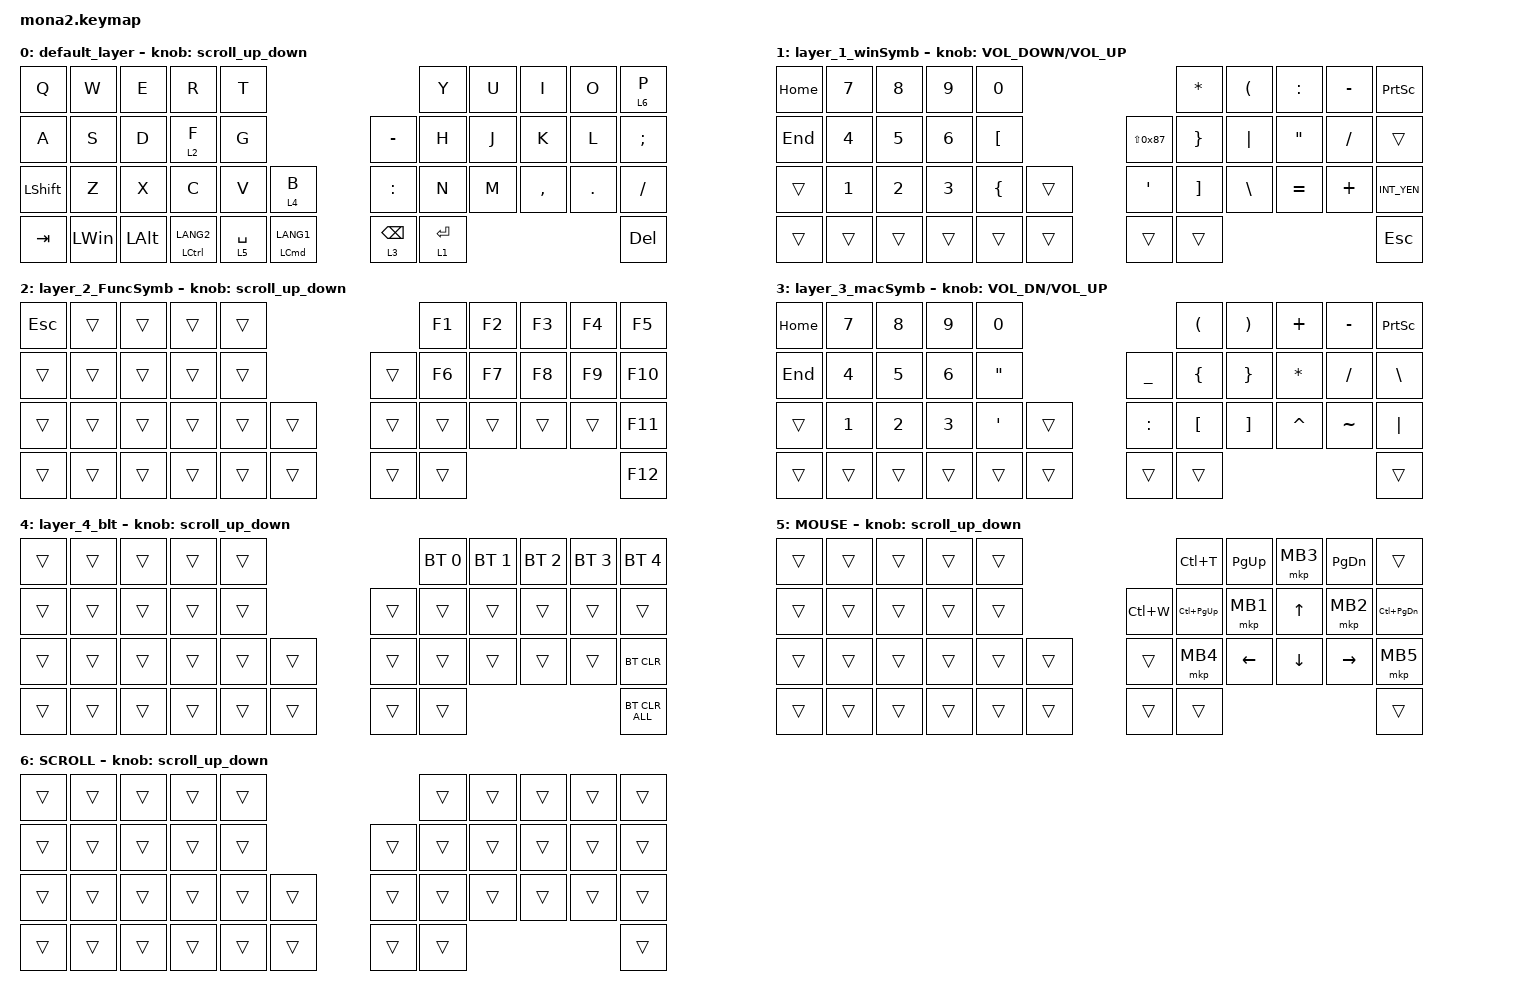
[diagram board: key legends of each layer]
#include <input/processors.dtsi>
#include <dt-bindings/zmk/input_transform.h>
#include <zephyr/dt-bindings/input/input-event-codes.h>
#include <behaviors.dtsi>
#include <dt-bindings/zmk/bt.h>
#include <dt-bindings/zmk/keys.h>
#include <dt-bindings/zmk/pointing.h>

#define ZMK_POINTING_DEFAULT_SCRL_VAL 100
#define MOUSE 5
#define SCROLL 6

&mt {
    flavor = "balanced";
    quick-tap-ms = <0>;
};

&lt {
    quick-tap-ms = <300>;
    flavor = "balanced";
};

/ {
    combos {
        compatible = "zmk,combos";

        layer4_ESC {
            bindings = <&lt 4 ESC>;
            key-positions = <39 38>;
        };

        tab {
            bindings = <&kp TAB>;
            key-positions = <11 12>;
        };
    };

    macros {
        to_layer_0: to_layer_0 {
            compatible = "zmk,behavior-macro-one-param";
            #binding-cells = <1>;
            bindings = <&to 0 &macro_param_1to1 &kp MACRO_PLACEHOLDER>;
            label = "TO_LAYER_0";
        };
    };

    behaviors {
        lt_to_layer_0: lt_to_layer_0 {
            compatible = "zmk,behavior-hold-tap";
            label = "LAYER_TAP_TO_0";
            bindings = <&mo>, <&to_layer_0>;

            #binding-cells = <2>;
            tapping-term-ms = <200>;
        };

        scroll_up_down: mouse_wheel_up_down {
            compatible = "zmk,behavior-sensor-rotate";
            #sensor-binding-cells = <0>;
            bindings = <&msc SCRL_DOWN>, <&msc SCRL_UP>;

            tap-ms = <20>;
        };

        scroll_right_left: mouse_wheel_right_left {
            compatible = "zmk,behavior-sensor-rotate";
            #sensor-binding-cells = <0>;
            bindings = <&msc SCRL_LEFT>, <&msc SCRL_RIGHT>;

            tap-ms = <20>;
        };
    };

    keymap {
        compatible = "zmk,keymap";

        default_layer {
            bindings = <
&kp Q           &kp W         &kp E         &kp R            &kp T                                                   &kp Y        &kp U  &kp I      &kp O    &lt 6 P
&kp A           &kp S         &kp D         &lt 2 F          &kp G                                  &kp MINUS        &kp H        &kp J  &kp K      &kp L    &kp SEMICOLON
&kp LEFT_SHIFT  &kp Z         &kp X         &kp C            &kp V        &lt 4 B                   &kp COLON        &kp N        &kp M  &kp COMMA  &kp DOT  &kp SLASH
&kp TAB         &kp LEFT_WIN  &kp LEFT_ALT  &mt LCTRL LANG2  &lt 5 SPACE  &mt LEFT_COMMAND LANG1    &lt 3 BACKSPACE  &lt 1 ENTER                             &kp DELETE
            >;

            sensor-bindings = <&scroll_up_down>;
        };

        layer_1_winSymb {
            bindings = <
&kp HOME  &kp N7        &kp N8        &kp N9        &kp NUMBER_0                                  &kp ASTERISK       &kp LEFT_PARENTHESIS  &kp COLON          &kp MINUS  &kp PRINTSCREEN
&kp END   &kp NUMBER_4  &kp N5        &kp NUMBER_6  &kp LEFT_BRACKET            &kp LS(0x87)      &kp RIGHT_BRACE    &kp PIPE              &kp DOUBLE_QUOTES  &kp SLASH  &trans
&trans    &kp NUMBER_1  &kp NUMBER_2  &kp NUMBER_3  &kp LEFT_BRACE    &trans    &kp SINGLE_QUOTE  &kp RIGHT_BRACKET  &kp BACKSLASH         &kp EQUAL          &kp PLUS   &kp INT_YEN
&trans    &trans        &trans        &trans        &trans            &trans    &trans            &trans                                                                 &kp ESCAPE
            >;

            sensor-bindings = <&inc_dec_kp C_VOLUME_DOWN C_VOLUME_UP>;
        };

        layer_2_FuncSymb {
            bindings = <
&kp ESC  &trans  &trans  &trans  &trans                    &kp F1  &kp F2  &kp F3  &kp F4  &kp F5
&trans   &trans  &trans  &trans  &trans            &trans  &kp F6  &kp F7  &kp F8  &kp F9  &kp F10
&trans   &trans  &trans  &trans  &trans  &trans    &trans  &trans  &trans  &trans  &trans  &kp F11
&trans   &trans  &trans  &trans  &trans  &trans    &trans  &trans                          &kp F12
            >;

            sensor-bindings = <&scroll_up_down>;
        };

        layer_3_macSymb {
            bindings = <
&kp HOME  &kp NUMBER_7  &kp NUMBER_8  &kp NUMBER_9  &kp NUMBER_0                                 &kp LEFT_PARENTHESIS  &kp RIGHT_PARENTHESIS  &kp PLUS      &kp MINUS  &kp PRINTSCREEN
&kp END   &kp NUMBER_4  &kp NUMBER_5  &kp NUMBER_6  &kp DOUBLE_QUOTES            &kp UNDERSCORE  &kp LEFT_BRACE        &kp RIGHT_BRACE        &kp ASTERISK  &kp SLASH  &kp BACKSLASH
&trans    &kp NUMBER_1  &kp NUMBER_2  &kp NUMBER_3  &kp SINGLE_QUOTE   &trans    &kp COLON       &kp LEFT_BRACKET      &kp RIGHT_BRACKET      &kp CARET     &kp TILDE  &kp PIPE
&trans    &trans        &trans        &trans        &trans             &trans    &trans          &trans                                                                &trans
            >;

            sensor-bindings = <&inc_dec_kp C_VOL_DN C_VOL_UP>;
        };

        layer_4_blt {
            bindings = <
&trans  &trans  &trans  &trans  &trans                    &bt BT_SEL 0  &bt BT_SEL 1  &bt BT_SEL 2  &bt BT_SEL 3  &bt BT_SEL 4
&trans  &trans  &trans  &trans  &trans            &trans  &trans        &trans        &trans        &trans        &trans
&trans  &trans  &trans  &trans  &trans  &trans    &trans  &trans        &trans        &trans        &trans        &bt BT_CLR
&trans  &trans  &trans  &trans  &trans  &trans    &trans  &trans                                                  &bt BT_CLR_ALL
            >;

            sensor-bindings = <&scroll_up_down>;
        };

        MOUSE {
            bindings = <
&trans  &trans  &trans  &trans  &trans                       &kp LC(T)        &kp PAGE_UP     &mkp MB3        &kp PAGE_DOWN    &trans
&trans  &trans  &trans  &trans  &trans            &kp LC(W)  &kp LC(PAGE_UP)  &mkp MB1        &kp UP_ARROW    &mkp MB2         &kp LC(PAGE_DOWN)
&trans  &trans  &trans  &trans  &trans  &trans    &trans     &mkp MB4         &kp LEFT_ARROW  &kp DOWN_ARROW  &kp RIGHT_ARROW  &mkp MB5
&trans  &trans  &trans  &trans  &trans  &trans    &trans     &trans                                                            &trans
            >;

            sensor-bindings = <&scroll_up_down>;
        };

        SCROLL {
            bindings = <
&trans  &trans  &trans  &trans  &trans                    &trans  &trans  &trans  &trans  &trans
&trans  &trans  &trans  &trans  &trans            &trans  &trans  &trans  &trans  &trans  &trans
&trans  &trans  &trans  &trans  &trans  &trans    &trans  &trans  &trans  &trans  &trans  &trans
&trans  &trans  &trans  &trans  &trans  &trans    &trans  &trans                          &trans
            >;

            sensor-bindings = <&scroll_up_down>;
        };
    };
};
